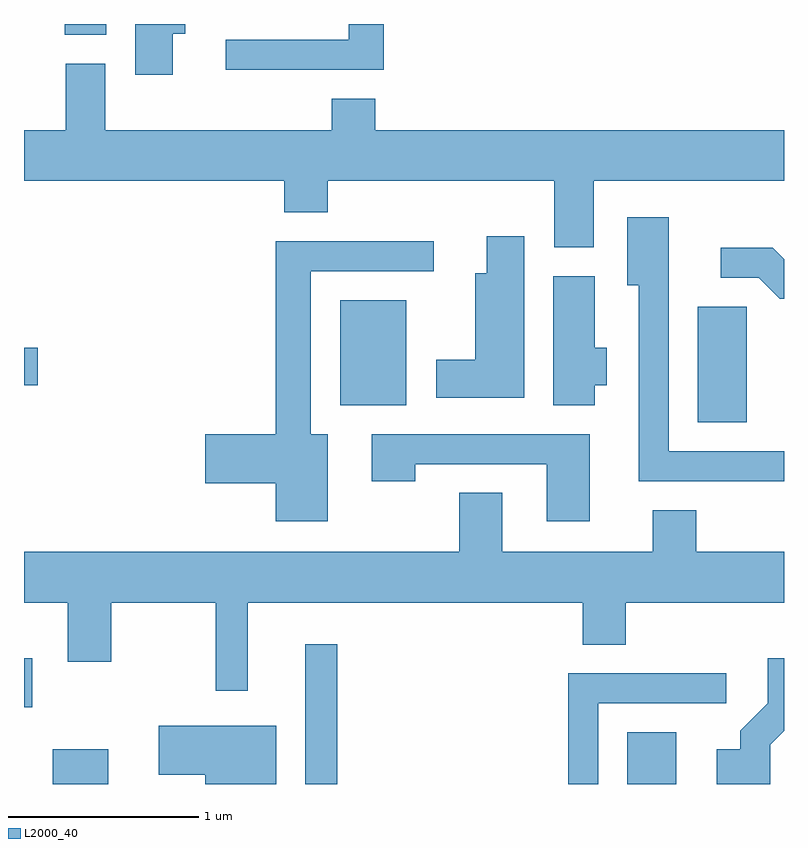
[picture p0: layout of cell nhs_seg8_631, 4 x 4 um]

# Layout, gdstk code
import gdstk
lib = gdstk.Library(unit=1e-6, precision=1e-09)
def R(c, l, rs):  # rectangles x0, y0, x1, y1
    for r in rs: c.add(gdstk.rectangle(r[:2], r[2:], *l))
def P(c, l, *ps):  # polygons
    for p in ps: c.add(gdstk.Polygon(p, *l))
L2000_40 = (2000, 40)

nhs_seg8_631 = lib.new_cell('nhs_seg8_631')
R(nhs_seg8_631, L2000_40, [(203.761,1844.342,204.054,1844.524), (205.091,1844.342,205.259,1845.078), (206.786,1844.342,207.044,1844.614), (203.611,1844.746,203.654,1845.004), (207.156,1846.246,207.414,1846.854), (205.276,1846.336,205.624,1846.889), (203.611,1846.441,203.684,1846.639), (203.826,1848.286,204.044,1848.342)])
P(nhs_seg8_631, L2000_40, [(204.394,1848.291),(204.459,1848.291),(204.459,1848.342),(204.196,1848.342),(204.196,1848.076),(204.394,1848.076)],
  [(205.504,1848.342),(205.321,1848.342),(205.321,1848.259),(204.673,1848.259),(204.673,1848.101),(205.504,1848.101)],
  [(206.609,1847.516),(207.611,1847.516),(207.611,1847.784),(205.459,1847.784),(205.459,1847.949),(205.231,1847.949),(205.231,1847.784),(204.039,1847.784),(204.039,1848.134),(203.831,1848.134),(203.831,1847.784),(203.611,1847.784),(203.611,1847.516),(204.981,1847.516),(204.981,1847.351),(205.209,1847.351),(205.209,1847.516),(206.401,1847.516),(206.401,1847.166),(206.609,1847.166)],
  [(207.611,1846.094),(207.004,1846.094),(207.004,1847.324),(206.786,1847.324),(206.786,1846.966),(206.846,1846.966),(206.846,1845.936),(207.611,1845.936)],
  [(206.244,1847.224),(206.046,1847.224),(206.046,1847.029),(205.986,1847.029),(205.986,1846.574),(205.781,1846.574),(205.781,1846.376),(206.244,1846.376)],
  [(205.209,1846.184),(205.119,1846.184),(205.119,1847.041),(205.768,1847.041),(205.768,1847.199),(204.936,1847.199),(204.936,1846.184),(204.566,1846.184),(204.566,1845.926),(204.936,1845.926),(204.936,1845.726),(205.209,1845.726)],
  [(207.611,1847.105),(207.552,1847.164),(207.278,1847.164),(207.278,1847.006),(207.479,1847.006),(207.589,1846.896),(207.611,1846.896)],
  [(206.614,1846.441),(206.679,1846.441),(206.679,1846.639),(206.614,1846.639),(206.614,1847.014),(206.396,1847.014),(206.396,1846.336),(206.614,1846.336)],
  [(206.589,1846.184),(205.441,1846.184),(205.441,1845.936),(205.669,1845.936),(205.669,1846.026),(206.361,1846.026),(206.361,1845.726),(206.589,1845.726)],
  [(204.789,1845.296),(206.551,1845.296),(206.551,1845.076),(206.779,1845.076),(206.779,1845.296),(207.611,1845.296),(207.611,1845.564),(207.149,1845.564),(207.149,1845.784),(206.921,1845.784),(206.921,1845.564),(206.129,1845.564),(206.129,1845.874),(205.901,1845.874),(205.901,1845.564),(203.611,1845.564),(203.611,1845.296),(203.841,1845.296),(203.841,1844.986),(204.069,1844.986),(204.069,1845.296),(204.621,1845.296),(204.621,1844.833),(204.789,1844.833)],
  [(207.539,1844.549),(207.611,1844.621),(207.611,1845.004),(207.526,1845.004),(207.526,1844.767),(207.381,1844.622),(207.381,1844.524),(207.256,1844.524),(207.256,1844.342),(207.539,1844.342)],
  [(206.634,1844.766),(207.308,1844.766),(207.308,1844.924),(206.476,1844.924),(206.476,1844.342),(206.634,1844.342)],
  [(204.939,1844.649),(204.321,1844.649),(204.321,1844.391),(204.566,1844.391),(204.566,1844.342),(204.939,1844.342)])

lib.write_gds('nhs_seg8_631.gds')
